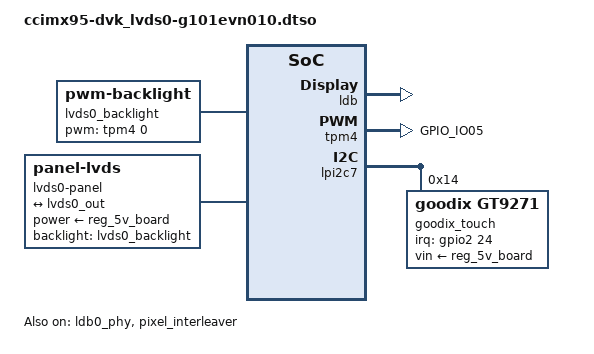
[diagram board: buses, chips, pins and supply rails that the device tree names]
// SPDX-License-Identifier: (GPL-2.0+ OR MIT)
/*
 * Copyright 2025-2026, Digi International Inc.
 */

/dts-v1/;
/plugin/;

#include <dt-bindings/clock/fsl,imx95-clock.h>
#include <dt-bindings/gpio/gpio.h>
#include <dt-bindings/interrupt-controller/irq.h>
#include "../freescale/imx95-pinfunc.h"

/ {
	fragment@0 {
		target-path = "/";
		__overlay__ {
			overlay-description = "DVK: AUO G101EVN01.1 display on LVDS0";

			lvds0_backlight: lvds0-backlight {
				compatible = "pwm-backlight";
				pwms = <&tpm4 0 50000 0>;
				brightness-levels = <0 20 25 30 35 40 100>;
				default-brightness-level = <6>;
				status = "okay";
			};

			lvds0-panel {
				compatible = "panel-lvds";
				backlight = <&lvds0_backlight>;
				power-supply = <&reg_5v_board>;
				data-mapping = "jeida-24";
				de-high;
				width-mm = <216>;
				height-mm = <135>;
				status = "okay";

				/* AUO G101EVN01.0 */
				panel-timing {
					clock-frequency = <68930000>;
					hactive = <1280>;
					vactive = <800>;
					hfront-porch = <120>;
					hback-porch = <2>;
					hsync-len = <8>;
					vback-porch = <10>;
					vfront-porch = <2>;
					vsync-len = <6>;
					hsync-active = <1>;
					vsync-active = <1>;
				};

				port {
					panel_lvds0_in: endpoint {
						remote-endpoint = <&lvds0_out>;
					};
				};
			};
		};
	};

	/* Disable the HDMI bridge */
	fragment@1 {
		target = <&lt_bridge>;
		__overlay__ {
			status = "disabled";
		};
	};

	/* Disable MIPI DSI phy */
	fragment@2 {
		target = <&mipi_dsi>;
		__overlay__ {
			status = "disabled";
		};
	};

	/* Disable HDMI connector */
	fragment@3 {
		target = <&hdmi_connector>;
		__overlay__ {
			status = "disabled";
		};
	};

	/* Enable the LVDS bridge */
	fragment@4 {
		target = <&ldb>;
		__overlay__ {
			assigned-clocks = <&scmi_clk IMX95_CLK_LDBPLL>;
			assigned-clock-rates = <482549760>;
			#address-cells = <1>;
			#size-cells = <0>;
			status = "okay";

			channel@0 {
				#address-cells = <1>;
				#size-cells = <0>;
				reg = <0>;
				status = "okay";

				port@1 {
					reg = <1>;

					lvds0_out: endpoint {
						remote-endpoint = <&panel_lvds0_in>;
					};
				};
			};
		};
	};

	/* Enable the LVDS phy */
	fragment@5 {
		target = <&ldb0_phy>;
		__overlay__ {
			status = "okay";
		};
	};

	/* Enable channel0 of pixel-interleaver */
	fragment@6 {
		target = <&pixel_interleaver>;
		__overlay__ {
			#address-cells = <1>;
			#size-cells = <0>;
			status = "okay";

			channel@0 {
				reg = <0>;
				status = "okay";
			};

			/* Disable LVDS1 */
			channel@1 {
				reg = <1>;
				status = "disabled";
			};
		};
	};

	/* Enable the LVDS backlight PWM */
	fragment@7 {
		target = <&tpm4>;
		__overlay__ {
			pinctrl-names = "default";
			pinctrl-0 = <&pinctrl_tpm4>;
			status = "okay";
		};
	};

	/* Enable goodix_touch */
	fragment@8 {
		target = <&lpi2c7>;
		__overlay__ {
			#address-cells = <1>;
			#size-cells = <0>;
			status = "okay";

			goodix_touch: gt9271@14 {
				compatible = "goodix,gt9271";
				reg = <0x14>;
				pinctrl-names = "default";
				pinctrl-0 = <&pinctrl_lvds0_touch>;
				/* LVDS interrupt */
				interrupt-parent = <&gpio2>;
				interrupts = <24 IRQ_TYPE_EDGE_FALLING>;
				irq-gpios = <&gpio2 24 GPIO_ACTIVE_HIGH>;
				reload-fw-on-resume;
				skip-firmware-request;
				vin-supply = <&reg_5v_board>;
				status = "okay";
			};
		};
	};

	/* pinctrl */
	fragment@9 {
		target = <&scmi_iomuxc>;
		__overlay__ {
			/* Backlight */
			pinctrl_tpm4: tpm4grp {
				fsl,pins = <
					IMX95_PAD_GPIO_IO05__TPM4_CH0		0x51e
				>;
			};

			/* Touch interrupt */
			pinctrl_lvds0_touch: lvds0touchgrp {
				fsl,pins = <
					IMX95_PAD_GPIO_IO24__GPIO2_IO_BIT24	0x51e
				>;
			};
		};
	};
};
